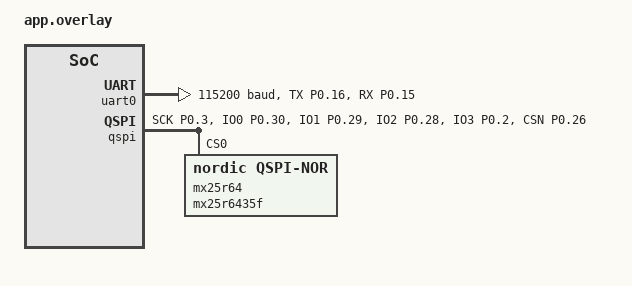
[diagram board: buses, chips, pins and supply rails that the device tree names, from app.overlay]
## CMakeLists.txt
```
cmake_minimum_required(VERSION 3.20.0)
find_package(Zephyr REQUIRED HINTS $ENV{ZEPHYR_BASE})
project(flash_test)

target_sources(app PRIVATE src/main.c)
```

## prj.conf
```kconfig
CONFIG_SERIAL=y
CONFIG_UART_INTERRUPT_DRIVEN=y
CONFIG_PRINTK=y
CONFIG_GPIO=y

CONFIG_FLASH=y
CONFIG_FLASH_MAP=y
CONFIG_FLASH_PAGE_LAYOUT=y

CONFIG_NORDIC_QSPI_NOR=y
CONFIG_NORDIC_QSPI_NOR_FLASH_LAYOUT_PAGE_SIZE=4096
```

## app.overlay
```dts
/*
 * QSPI Flash Test - MX25R1635F
 * REVITA_LINK pins:
 * CS: P0.26, CLK: P0.03
 * DIO0: P0.30, DIO1: P0.29, DIO2: P0.28, DIO3: P0.02
 * UART2: TX=P0.16, RX=P0.15
 */

&pinctrl {
    /* Override UART for debug output */
    uart0_default: uart0_default {
        group1 {
            psels = <NRF_PSEL(UART_TX, 0, 16)>;
        };
        group2 {
            psels = <NRF_PSEL(UART_RX, 0, 15)>;
            bias-pull-up;
        };
    };

    uart0_sleep: uart0_sleep {
        group1 {
            psels = <NRF_PSEL(UART_TX, 0, 16)>,
                    <NRF_PSEL(UART_RX, 0, 15)>;
            low-power-enable;
        };
    };

    /* Override QSPI pins for REVITA_LINK board */
    qspi_default: qspi_default {
        group1 {
            psels = <NRF_PSEL(QSPI_SCK, 0, 3)>,
                    <NRF_PSEL(QSPI_IO0, 0, 30)>,
                    <NRF_PSEL(QSPI_IO1, 0, 29)>,
                    <NRF_PSEL(QSPI_IO2, 0, 28)>,
                    <NRF_PSEL(QSPI_IO3, 0, 2)>,
                    <NRF_PSEL(QSPI_CSN, 0, 26)>;
            nordic,drive-mode = <NRF_DRIVE_H0H1>;
        };
    };

    qspi_sleep: qspi_sleep {
        group1 {
            psels = <NRF_PSEL(QSPI_SCK, 0, 3)>,
                    <NRF_PSEL(QSPI_IO0, 0, 30)>,
                    <NRF_PSEL(QSPI_IO1, 0, 29)>,
                    <NRF_PSEL(QSPI_IO2, 0, 28)>,
                    <NRF_PSEL(QSPI_IO3, 0, 2)>,
                    <NRF_PSEL(QSPI_CSN, 0, 26)>;
            low-power-enable;
        };
    };
};

&uart0 {
    status = "okay";
    current-speed = <115200>;
    pinctrl-0 = <&uart0_default>;
    pinctrl-1 = <&uart0_sleep>;
    pinctrl-names = "default", "sleep";
};

/* Override QSPI flash for MX25R1635F (16Mbit) */
&qspi {
    status = "okay";
    pinctrl-0 = <&qspi_default>;
    pinctrl-1 = <&qspi_sleep>;
    pinctrl-names = "default", "sleep";

    mx25r64: mx25r6435f@0 {
        compatible = "nordic,qspi-nor";
        reg = <0>;
        writeoc = "pp4io";
        readoc = "read4io";
        sck-frequency = <8000000>;
        jedec-id = [c2 28 15];  /* MX25R1635F */
        size = <16777216>;      /* 16Mbit = 2MB */
        has-dpd;
        t-enter-dpd = <10000>;
        t-exit-dpd = <35000>;
    };
};
```

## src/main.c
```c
/*
 * QSPI Flash Memory Test - MX25R1635F (nRF QSPI)
 * CS: P0.26, CLK: P0.03
 * DIO0-3: P0.30, P0.29, P0.28, P0.02
 * UART2: TX=P0.16
 */

#include <zephyr/kernel.h>
#include <zephyr/device.h>
#include <zephyr/drivers/flash.h>
#include <zephyr/drivers/uart.h>
#include <stdio.h>
#include <string.h>

#define FLASH_TEST_OFFSET  0x00000
#define FLASH_TEST_SIZE    256
#define FLASH_PAGE_SIZE    4096

static const struct device *uart_dev;
static const struct device *flash_dev;

static void uart_print(const char *str)
{
    while (*str) {
        uart_poll_out(uart_dev, *str++);
    }
}

static void print_hex(const uint8_t *data, size_t len)
{
    char buf[8];
    for (size_t i = 0; i < len; i++) {
        snprintf(buf, sizeof(buf), "%02X ", data[i]);
        uart_print(buf);
        if ((i + 1) % 16 == 0) {
            uart_print("\r\n");
        }
    }
    if (len % 16 != 0) {
        uart_print("\r\n");
    }
}

int main(void)
{
    int ret;
    char buf[128];
    uint8_t write_buf[FLASH_TEST_SIZE];
    uint8_t read_buf[FLASH_TEST_SIZE];

    uart_dev = DEVICE_DT_GET(DT_NODELABEL(uart0));

    k_sleep(K_MSEC(100));

    uart_print("\r\n=== QSPI Flash Test (MX25R1635F) ===\r\n");

    /* Get flash device using mx25r64 label (overridden in overlay) */
    flash_dev = DEVICE_DT_GET(DT_NODELABEL(mx25r64));
    if (!device_is_ready(flash_dev)) {
        uart_print("ERROR: Flash device not ready\r\n");
        return -1;
    }
    uart_print("Flash device ready (QSPI)\r\n");

    /* Read flash info */
    const struct flash_parameters *params = flash_get_parameters(flash_dev);
    if (params) {
        snprintf(buf, sizeof(buf), "Write block size: %u bytes\r\n",
                 (unsigned int)params->write_block_size);
        uart_print(buf);
        snprintf(buf, sizeof(buf), "Erase value: 0x%02X\r\n", params->erase_value);
        uart_print(buf);
    }

    /* Step 1: Read original data */
    uart_print("\r\n[1] Reading original data...\r\n");
    memset(read_buf, 0, sizeof(read_buf));
    ret = flash_read(flash_dev, FLASH_TEST_OFFSET, read_buf, 64);
    if (ret != 0) {
        snprintf(buf, sizeof(buf), "ERROR: Read failed (%d)\r\n", ret);
        uart_print(buf);
        return -1;
    }
    uart_print("Original data:\r\n");
    print_hex(read_buf, 64);

    /* Step 2: Erase sector */
    uart_print("\r\n[2] Erasing sector (4KB)...\r\n");
    ret = flash_erase(flash_dev, FLASH_TEST_OFFSET, FLASH_PAGE_SIZE);
    if (ret != 0) {
        snprintf(buf, sizeof(buf), "ERROR: Erase failed (%d)\r\n", ret);
        uart_print(buf);
        return -1;
    }
    uart_print("Erase OK\r\n");

    /* Step 3: Verify erase */
    uart_print("\r\n[3] Verifying erase...\r\n");
    memset(read_buf, 0, sizeof(read_buf));
    ret = flash_read(flash_dev, FLASH_TEST_OFFSET, read_buf, 64);
    if (ret != 0) {
        uart_print("ERROR: Read failed\r\n");
        return -1;
    }
    uart_print("After erase (should be 0xFF):\r\n");
    print_hex(read_buf, 64);

    /* Check if all 0xFF */
    bool erase_ok = true;
    for (int i = 0; i < 64; i++) {
        if (read_buf[i] != 0xFF) {
            erase_ok = false;
            break;
        }
    }
    uart_print(erase_ok ? "Erase verified OK\r\n" : "Erase verify FAILED\r\n");

    /* Step 4: Write test pattern */
    uart_print("\r\n[4] Writing test pattern...\r\n");
    for (int i = 0; i < FLASH_TEST_SIZE; i++) {
        write_buf[i] = (uint8_t)i;
    }

    ret = flash_write(flash_dev, FLASH_TEST_OFFSET, write_buf, FLASH_TEST_SIZE);
    if (ret != 0) {
        snprintf(buf, sizeof(buf), "ERROR: Write failed (%d)\r\n", ret);
        uart_print(buf);
        return -1;
    }
    uart_print("Write OK\r\n");

    /* Step 5: Read back and verify */
    uart_print("\r\n[5] Reading back data...\r\n");
    memset(read_buf, 0, sizeof(read_buf));
    ret = flash_read(flash_dev, FLASH_TEST_OFFSET, read_buf, FLASH_TEST_SIZE);
    if (ret != 0) {
        uart_print("ERROR: Read failed\r\n");
        return -1;
    }
    uart_print("Read data (first 64 bytes):\r\n");
    print_hex(read_buf, 64);

    /* Verify data */
    bool verify_ok = true;
    for (int i = 0; i < FLASH_TEST_SIZE; i++) {
        if (read_buf[i] != write_buf[i]) {
            verify_ok = false;
            snprintf(buf, sizeof(buf), "Mismatch at %d: wrote 0x%02X, read 0x%02X\r\n",
                     i, write_buf[i], read_buf[i]);
            uart_print(buf);
            break;
        }
    }

    uart_print("\r\n========================================\r\n");
    if (verify_ok) {
        uart_print("*** FLASH TEST PASSED ***\r\n");
    } else {
        uart_print("*** FLASH TEST FAILED ***\r\n");
    }
    uart_print("========================================\r\n");

    /* Keep running */
    uint32_t count = 0;
    while (1) {
        snprintf(buf, sizeof(buf), "[%u] Flash test complete\r\n", count++);
        uart_print(buf);
        k_sleep(K_SECONDS(5));
    }

    return 0;
}
```
